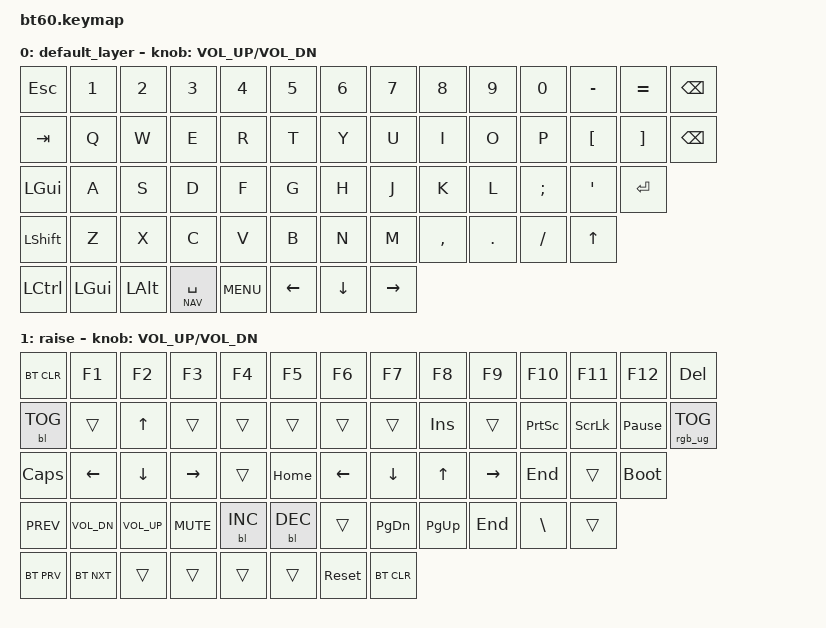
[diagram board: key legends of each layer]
#include <behaviors.dtsi>
#include <dt-bindings/zmk/keys.h>
#include <dt-bindings/zmk/bt.h>
#include <dt-bindings/zmk/rgb.h>
#include <dt-bindings/zmk/backlight.h>

#define NAV 1

&lt {
 flavor = "tap-preferred";
 tapping-term-ms = <200>;
 quick-tap-ms = <0>;
};

&mt {
 flavor = "tap-preferred";
 tapping_term_ms = <200>;
 quick-tap-ms = <0>;
 };

/ {
	behaviors {
        td0: tap_dance_0 {
            compatible = "zmk,behavior-tap-dance";
            #binding-cells = <0>;
            tapping-term-ms = <200>;
            bindings = <&kp FSLH>, <&kp BSLH>;
        };
    };

	keymap {
		compatible = "zmk,keymap";

		default_layer {
				// ------------------------------------------------------------------------------------------
				// | ` | 1 | 2 | 3 | 4 | 5 | 6 | 7 | 8 | 9 | 0 | - | = |  BKSP
				// | TAB | Q | W | E | R | T | Y | U | I | O | P | [ | ] |  |
				// | CAPS | A | S | D | F | G | H | J | K | L | ; | ' |   ENTER
				// | SHIFT  | Z | X | C | V | B | N | M | , | . | /  |   SHIFT
				// | CTL | WIN | ALT |      SPACE        | ALT | 1  | MENU  | CTRL
				// ------------------------------------------------------------------------------------------
			bindings = <

				&kp ESC 	&kp N1 		&kp N2 		&kp N3 			&kp N4		&kp N5 		&kp N6 		&kp N7 		&kp N8  	&kp N9 		&kp N0 		&kp MINUS 	&kp EQUAL &kp BSPC
				&kp TAB 	&kp Q 		&kp W 		&kp E 			&kp R 		&kp T 		&kp Y 		&kp U 		&kp I  		&kp O 		&kp P  		&kp LBKT 	&kp RBKT  &kp BSPC
				&kp LGUI 	&kp A 		&kp S 		&kp D 			&kp F 		&kp G 		&kp H 		&kp J 		&kp K  		&kp L 		&kp SEMI 	&kp SQT     &kp RET
				&kp LSHFT 	&kp Z 		&kp X 		&kp C 			&kp V 		&kp B 		&kp N 		&kp M 		&kp COMMA 	&kp DOT 	&kp FSLH    &kp UP
				&kp LCTRL 	&kp LGUI 	&kp LALT  	&lt NAV SPACE	&kp C_MENU 	&kp LEFT 	&kp DOWN 	&kp RIGHT
			>;
			sensor-bindings = <&inc_dec_kp C_VOL_UP C_VOL_DN>;
		};
		raise {
			bindings = <
				&bt BT_CLR 	&kp F1 		 &kp F2 		&kp F3 		&kp F4 		&kp F5 		&kp F6 		&kp F7 		&kp F8 		&kp F9 		&kp F10 	&kp F11 	&kp F12 		 &kp DEL
				&bl BL_TOG	&trans 		 &kp UP 		&trans 		&trans 		&trans 		&trans 		&trans 		&kp INS 	&trans 		&kp PSCRN 	&kp SLCK 	&kp PAUSE_BREAK  &rgb_ug RGB_TOG
				&kp CAPS  	&kp LEFT 	 &kp DOWN 		&kp RIGHT 	&trans 		&kp HOME	&kp LEFT	&kp DOWN 	&kp UP 		&kp RIGHT 	&kp END 	&trans		&bootloader
				&kp C_PREV 	&kp C_VOL_DN &kp C_VOL_UP 	&kp C_MUTE 	&bl BL_INC 	&bl BL_DEC 	&trans 		&kp PG_DN	&kp PG_UP	&kp END	    &kp BSLH 	&trans
				&bt BT_PRV 	&bt BT_NXT   &trans     	&trans		&trans  	&trans  	&sys_reset 	&bt BT_CLR
			>;
			sensor-bindings = <&inc_dec_kp C_VOL_UP C_VOL_DN>;
		};
	
	};
};
